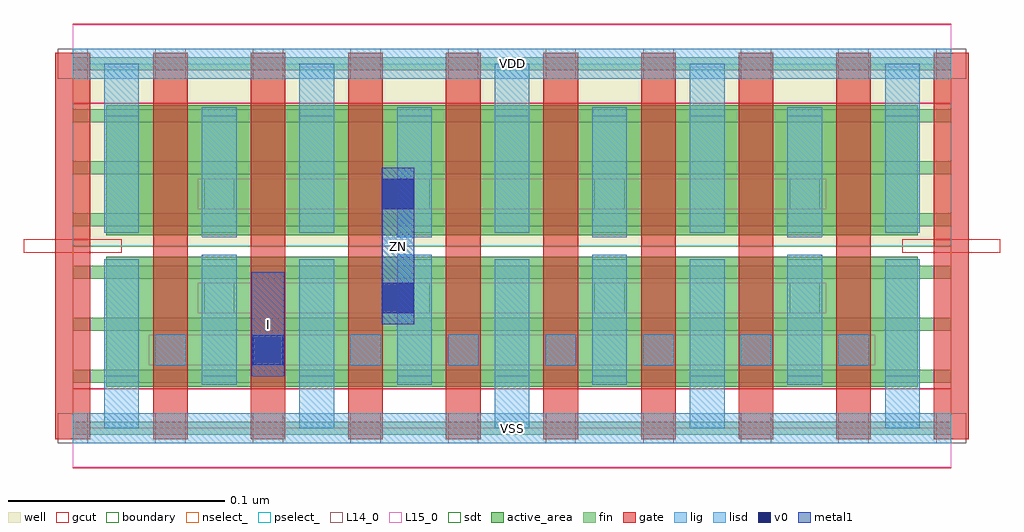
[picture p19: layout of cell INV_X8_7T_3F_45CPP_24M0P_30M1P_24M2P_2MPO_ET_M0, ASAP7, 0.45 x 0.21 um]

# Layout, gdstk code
import gdstk
lib = gdstk.Library(unit=1e-6, precision=2.5e-10)
def R(c, l, rs):  # rectangles x0, y0, x1, y1
    for r in rs: c.add(gdstk.rectangle(r[:2], r[2:], *l))
def A(c, l, x, y, w, h, nx, ny, dx, dy):  # array of equal rectangles
    R(c, l, [(x+i*dx, y+j*dy, x+i*dx+w, y+j*dy+h) for i in range(nx) for j in range(ny)])
well = (1, 0)
fin = (2, 0)
gate = (7, 0)
gcut = (10, 0)
active_area = (11, 0)
nselect_ = (12, 0)
pselect_ = (13, 0)
L14_0 = (14, 0)
L15_0 = (15, 0)
lig = (16, 0)
lisd = (17, 0)
v0 = (18, 0)
metal1 = (19, 0)
sdt = (88, 0)
boundary = (100, 0)

inv_x8_7t_3f_45cpp_24m0p = lib.new_cell('INV_X8_7T_3F_45CPP_24M0P_30M1P_24M2P_2MPO_ET_M0')
R(inv_x8_7t_3f_45cpp_24m0p, well, [(0,0.084,0.405,0.168)])
A(inv_x8_7t_3f_45cpp_24m0p, fin, 0, -0.003, 0.405, 0.006, 1, 8, 0, 0.024)
A(inv_x8_7t_3f_45cpp_24m0p, gate, -0.008, -0.005, 0.016, 0.178, 10, 1, 0.045, 0)
R(inv_x8_7t_3f_45cpp_24m0p, gcut, [(0,-0.0185,0.405,0.0185), (-0.0225,0.081,0.0225,0.087), (0.3825,0.081,0.4275,0.087), (0,0.1495,0.405,0.1865)])
R(inv_x8_7t_3f_45cpp_24m0p, active_area, [(0.0155,0.019,0.3895,0.079), (0.0155,0.089,0.3895,0.149)])
R(inv_x8_7t_3f_45cpp_24m0p, nselect_, [(0,0,0.405,0.084)])
R(inv_x8_7t_3f_45cpp_24m0p, pselect_, [(0,0.084,0.405,0.168)])
A(inv_x8_7t_3f_45cpp_24m0p, L14_0, -0.007, -0.007, 0.014, 0.014, 10, 2, 0.045, 0.168)
A(inv_x8_7t_3f_45cpp_24m0p, L14_0, 0.038, 0.029, 0.014, 0.014, 8, 1, 0.045, 0)
A(inv_x8_7t_3f_45cpp_24m0p, L14_0, 0.0605, 0.053, 0.014, 0.014, 4, 2, 0.09, 0.048)
R(inv_x8_7t_3f_45cpp_24m0p, L15_0, [(0,-0.018,0.405,0.018), (0.035,0.029,0.37,0.043), (0.0575,0.053,0.3475,0.067), (0.0575,0.101,0.3475,0.115), (0,0.15,0.405,0.186)])
A(inv_x8_7t_3f_45cpp_24m0p, lig, 0.038, 0.029, 0.014, 0.014, 8, 1, 0.045, 0)
R(inv_x8_7t_3f_45cpp_24m0p, lig, [(0,-0.007,0.405,0.007), (0,0.161,0.405,0.175)])
A(inv_x8_7t_3f_45cpp_24m0p, lisd, 0.0145, 0, 0.016, 0.078, 5, 2, 0.09, 0.09)
A(inv_x8_7t_3f_45cpp_24m0p, lisd, 0.0595, 0.02, 0.016, 0.06, 4, 2, 0.09, 0.068)
R(inv_x8_7t_3f_45cpp_24m0p, v0, [(0.083,0.029,0.097,0.043), (0.143,0.053,0.157,0.067), (0.143,0.101,0.157,0.115)])
R(inv_x8_7t_3f_45cpp_24m0p, metal1, [(0.0825,0.024,0.0975,0.072), (0.1425,0.048,0.1575,0.12)])
A(inv_x8_7t_3f_45cpp_24m0p, sdt, 0.0145, 0.024, 0.016, 0.054, 9, 2, 0.045, 0.066)
R(inv_x8_7t_3f_45cpp_24m0p, boundary, [(0,0,0.405,0.168)])
inv_x8_7t_3f_45cpp_24m0p.add(gdstk.Label('ZN', (0.15,0.084), layer=19, texttype=251))
inv_x8_7t_3f_45cpp_24m0p.add(gdstk.Label('I', (0.09,0.048), layer=19, texttype=251))
inv_x8_7t_3f_45cpp_24m0p.add(gdstk.Label('VDD', (0.2025,0.168), layer=15, texttype=251))
inv_x8_7t_3f_45cpp_24m0p.add(gdstk.Label('VSS', (0.2025,0), layer=15, texttype=251))
inv_x8_7t_3f_45cpp_24m0p.add(gdstk.Label('VDD', (0.2025,0.168), layer=1, texttype=251))
inv_x8_7t_3f_45cpp_24m0p.add(gdstk.Label('VSS', (0.2025,0), layer=3, texttype=251))

lib.write_gds('INV_X8_7T_3F_45CPP_24M0P_30M1P_24M2P_2MPO_ET_M0.gds')
